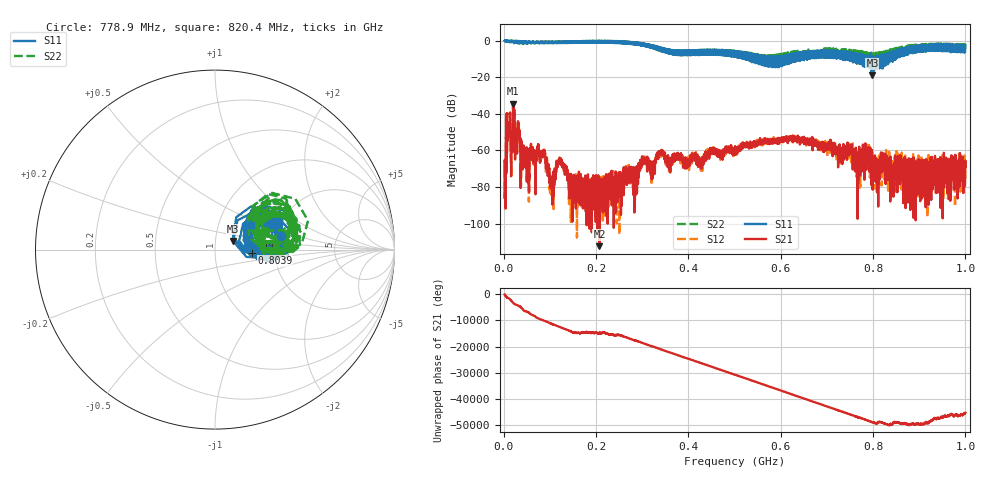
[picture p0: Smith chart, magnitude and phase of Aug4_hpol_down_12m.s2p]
!Keysight Technologies N9923A: A.12.45
!Date: Tuesday, 05 August 2025 18:12:02
!Timezone: (UTC+08:00) Kuala Lumpur, Singapore
!Model: N9923A
!Serial: MY61181427
!GPS Latitude:
!GPS Longitude:
!GPS TimeStamp: 0001-01-01 00:00:00Z
!GPS Seconds Since Last Read: 0
!CHECKSUM:1430332135
!Correction: S11(ON U)S21(ON U)S12(ON U)S22(ON U)
!S2P File: Measurements:S11,S21,S12,S22:
# Hz S DB R 50
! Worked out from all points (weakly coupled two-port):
!   4001 points, 2 MHz to 1 GHz, reference 50 ohm
!   highest |S21| = -34.40 dB at 20.21 MHz (marker M1); lowest = -112.3 dB at 207.3 MHz (marker M2)
!   lowest |S11| = -19.0 dB at 798.7 MHz (marker M3), VSWR 1.25, Z = 60.9 + j5.92 ohm
!   |S11| at or under -10 dB: 796.3999 MHz to 797.5172 MHz (1.117 MHz wide, 0.14 % of centre); 798.1388 MHz to 799.2535 MHz (1.115 MHz wide, 0.14 % of centre); 799.8806 MHz to 801.0606 MHz (1.18 MHz wide, 0.147 % of centre)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
!   |S22| runs from -13.9 to 0.1 dB; largest |S21 - S12| = 0.0012
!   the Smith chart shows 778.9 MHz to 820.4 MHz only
!   S11 on the Smith chart (normalised r, x): 778.9 MHz: 2.13, +0.37; 803.9 MHz: 1.52, -0.06; 820.4 MHz: 1.44, +0.41
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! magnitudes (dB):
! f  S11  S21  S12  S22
! 2 MHz  -0.1  -85.8  -82.7  -0.1
! 9.735 MHz  -0.2  -44.7  -44.7  0.0
! 20.21 MHz  -0.3  -34.4  -34.5  -1.3
! 50.9 MHz  -1.7  -59.3  -58.9  -1.6
! 85.08 MHz  -0.8  -60.9  -62.0  -0.9
! 103.8 MHz  -0.6  -80.5  -79.4  -0.6
! 121 MHz  -0.9  -66.3  -65.5  -0.8
! 145.7 MHz  -0.5  -72.8  -74.6  -0.4
! 168.4 MHz  -1.2  -76.1  -79.7  -1.0
! 207.3 MHz  -0.9  -112.3  -74.5  -0.9
! 283.7 MHz  -1.2  -76.1  -75.1  -0.9
! 334.8 MHz  -4.2  -62.4  -61.0  -4.9
! 501 MHz  -6.4  -61.2  -61.3  -7.3
! 667.4 MHz  -8.8  -54.8  -53.3  -7.8
! 749.8 MHz  -11.0  -60.4  -57.0  -7.3
! 764.7 MHz  -11.8  -61.1  -67.0  -6.4
! 778.9 MHz  -8.5  -61.9  -58.4  -10.5
! 798.7 MHz  -19.0  -71.5  -73.3  -8.5
! 803.9 MHz  -13.7  -67.1  -80.8  -11.1
! 820.4 MHz  -12.3  -63.4  -62.1  -6.7
! 833.8 MHz  -9.4  -73.2  -73.4  -5.5
! 1 GHz  -2.5  -69.1  -68.3  -3.9
